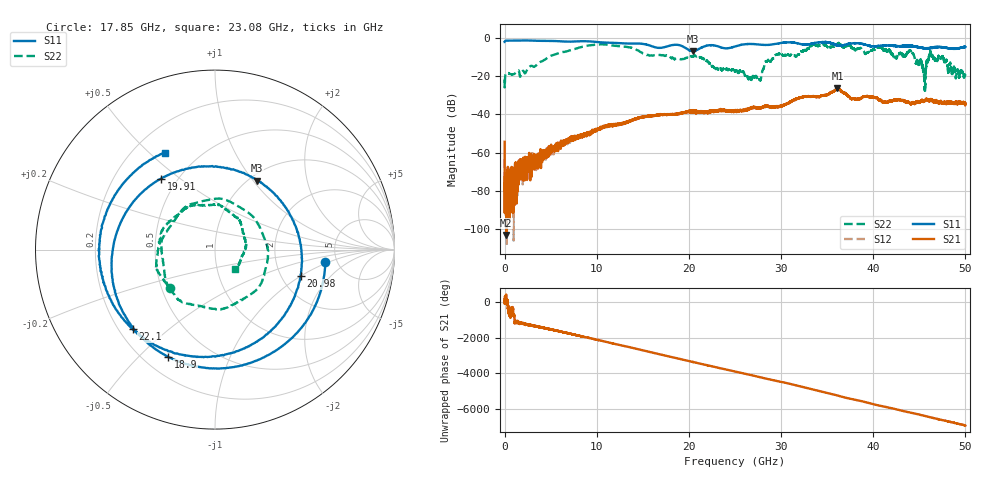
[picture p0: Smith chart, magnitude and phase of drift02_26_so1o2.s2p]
!Created with skrf (http://scikit-rf.org).
# Hz S RI R 50.0
!freq ReS11 ImS11 ReS21 ImS21 ReS12 ImS12 ReS22 ImS22
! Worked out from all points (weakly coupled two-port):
!   10001 points, 300 kHz to 50 GHz, reference 50 ohm
!   highest |S21| = -26.29 dB at 36.12 GHz (marker M1); lowest = -103.1 dB at 190.3 MHz (marker M2)
!   lowest |S11| = -6.9 dB at 20.41 GHz (marker M3), VSWR 2.64, Z = 54.5 + j52.5 ohm
!   |S11| at or under -10 dB: nowhere
!   |S22| runs from -28.2 to -2.6 dB; largest |S21 - S12| = 0.0048
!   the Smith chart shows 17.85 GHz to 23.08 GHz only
!   S11 on the Smith chart (normalised r, x): 17.85 GHz: 4.02, -0.91; 18.9 GHz: 0.30, -0.62; 19.91 GHz: 0.41, +0.43; 20.98 GHz: 2.54, -1.00; 22.1 GHz: 0.25, -0.38; 23.08 GHz: 0.33, +0.56
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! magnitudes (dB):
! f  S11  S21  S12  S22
! 300 kHz  -2.1  -54.3  -63.5  -21.7
! 190.3 MHz  -1.4  -103.1  -74.9  -18.3
! 8.335 GHz  -1.7  -51.5  -50.8  -4.8
! 16.67 GHz  -5.2  -40.2  -40.3  -9.0
! 17.85 GHz  -4.2  -40.1  -40.0  -9.6
! 18.9 GHz  -3.7  -39.7  -39.6  -10.9
! 19.91 GHz  -6.1  -38.6  -38.6  -9.9
! 20.41 GHz  -6.9  -38.4  -38.5  -9.8
! 20.98 GHz  -6.0  -38.6  -38.6  -9.3
! 22.1 GHz  -3.9  -39.1  -39.0  -12.6
! 23.08 GHz  -4.3  -38.1  -38.1  -16.1
! 25 GHz  -4.5  -38.4  -38.2  -17.6
! 27.62 GHz  -3.5  -36.7  -36.7  -21.9
! 28.43 GHz  -3.7  -35.7  -35.7  -12.2
! 29.54 GHz  -3.1  -35.7  -36.1  -8.8
! 33.34 GHz  -3.0  -30.7  -30.6  -3.8
! 36.12 GHz  -3.8  -26.3  -27.0  -3.3
! 41.67 GHz  -4.0  -33.2  -33.5  -6.3
! 44.12 GHz  -4.1  -34.4  -34.4  -7.1
! 45.5 GHz  -5.3  -32.9  -33.0  -18.5
! 46.27 GHz  -5.2  -32.0  -32.5  -8.5
! 50 GHz  -4.7  -34.3  -34.2  -19.2
